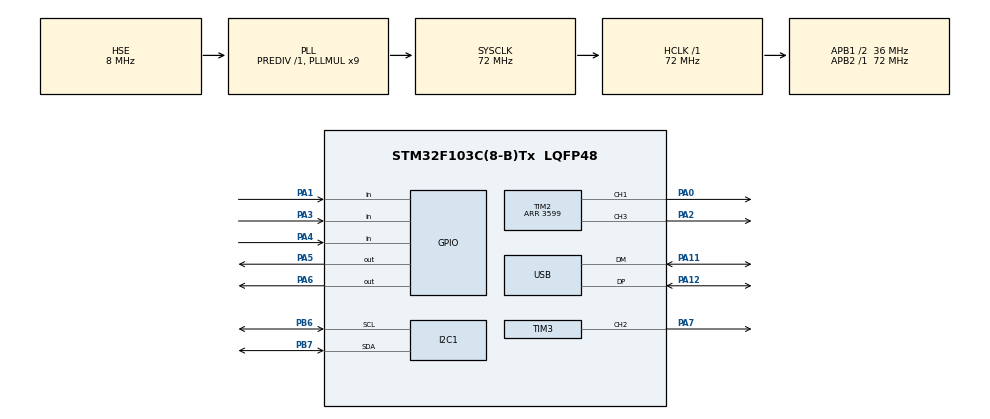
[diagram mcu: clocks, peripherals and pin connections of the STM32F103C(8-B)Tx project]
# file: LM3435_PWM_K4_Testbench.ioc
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Mcu.Family=STM32F1
Mcu.Name=STM32F103C(8-B)Tx
Mcu.Package=LQFP48
NVIC.PriorityGroup=NVIC_PRIORITYGROUP_4
NVIC.USB_LP_CAN1_RX0_IRQn=true\:0\:0\:false\:false\:true\:false\:true\:true
PA0-WKUP.Signal=S_TIM2_CH1_ETR
PA1.Signal=GPIO_Input
PA11.Mode=Device
PA11.Signal=USB_DM
PA12.Mode=Device
PA12.Signal=USB_DP
PA13.Mode=Serial_Wire
PA13.Signal=SYS_JTMS-SWDIO
PA14.Mode=Serial_Wire
PA14.Signal=SYS_JTCK-SWCLK
PA2.Signal=S_TIM2_CH3
PA3.Signal=GPIO_Input
PA4.Signal=GPIO_Input
PA5.Signal=GPIO_Output
PA6.Signal=GPIO_Output
PA7.Signal=S_TIM3_CH2
PB6.Mode=I2C
PB6.Signal=I2C1_SCL
PB7.Mode=I2C
PB7.Signal=I2C1_SDA
PD0-OSC_IN.Mode=HSE-External-Oscillator
PD0-OSC_IN.Signal=RCC_OSC_IN
PD1-OSC_OUT.Mode=HSE-External-Oscillator
PD1-OSC_OUT.Signal=RCC_OSC_OUT
ProjectManager.HeapSize=0x200
ProjectManager.StackSize=0x400
ProjectManager.TargetToolchain=MDK-ARM V5.32
RCC.AHBFreq_Value=72000000
RCC.APB1CLKDivider=RCC_HCLK_DIV2
RCC.APB1Freq_Value=36000000
RCC.APB1TimFreq_Value=72000000
RCC.APB2Freq_Value=72000000
RCC.APB2TimFreq_Value=72000000
RCC.HCLKFreq_Value=72000000
RCC.PLLMUL=RCC_PLL_MUL9
RCC.PLLSourceVirtual=RCC_PLLSOURCE_HSE
RCC.SYSCLKFreq_VALUE=72000000
RCC.SYSCLKSource=RCC_SYSCLKSOURCE_PLLCLK
RCC.USBFreq_Value=48000000
RCC.USBPrescaler=RCC_USBCLKSOURCE_PLL_DIV1_5
SH.S_TIM2_CH1_ETR.0=TIM2_CH1,PWM Generation1 CH1
SH.S_TIM2_CH3.0=TIM2_CH3,PWM Generation2 CH3
SH.S_TIM3_CH2.0=TIM3_CH2,PWM Generation1 CH2
TIM2.Channel-PWM\ Generation1\ CH1=TIM_CHANNEL_1
TIM2.Channel-PWM\ Generation2\ CH3=TIM_CHANNEL_3
TIM2.Period=3599
TIM2.Pulse-PWM\ Generation1\ CH1=360
TIM2.Pulse-PWM\ Generation2\ CH3=3240
TIM3.Channel-PWM\ Generation1\ CH2=TIM_CHANNEL_2
TIM3.Period=3599
TIM3.Prescaler=0
TIM3.Pulse-PWM\ Generation1\ CH2=360
USB_DEVICE.CLASS_NAME_FS=CDC
USB_DEVICE.VirtualMode=Cdc
USB_DEVICE.VirtualModeFS=Cdc_FS
VP_TIM2_VS_ClockSourceINT.Mode=Internal
VP_TIM3_VS_ClockSourceINT.Mode=Internal
VP_USB_DEVICE_VS_USB_DEVICE_CDC_FS.Mode=CDC_FS
board=custom

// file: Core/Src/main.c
/* USER CODE BEGIN Header */
/**
  ******************************************************************************
  * @file           : main.c
  * @brief          : Main program body
  ******************************************************************************
  * @attention
  *
  * Copyright (c) 2026 STMicroelectronics.
  * All rights reserved.
  *
  * This software is licensed under terms that can be found in the LICENSE file
  * in the root directory of this software component.
  * If no LICENSE file comes with this software, it is provided AS-IS.
  *
  ******************************************************************************
  */
/* USER CODE END Header */
#include "main.h"
#include "usb_device.h"
#include "usbd_cdc_if.h"
#include <stdio.h>
#include <stdarg.h>
#include <string.h>

/* USER CODE BEGIN PD */
/* ---- LM3435 (SNVS724C) ---- */
/* 7-bit slave address is 0x28 -> chip address byte 0x50 (write) */
#define LM3435_ADDR      (0x28<<1)

#define LM3435_REG_LEDLO   0x00    /* [5:4]=RLED[1:0] [3:2]=BLED[1:0] [1:0]=GLED[1:0] */
#define LM3435_REG_GLEDH   0x01    /* GLED[9:2]  */
#define LM3435_REG_BLEDH   0x02    /* BLED[9:2]  */
#define LM3435_REG_RLEDH   0x03    /* RLED[9:2]  */
#define LM3435_REG_FLT_RPT 0x05    /* [0]=fault reporting enable, reset default 0x01 */
#define LM3435_REG_DELAY   0x06    /* [7:6]RDLY [5:4]BDLY [3:2]GDLY -> 0=5us 1=15 2=25 3=35 */
#define LM3435_REG_FAULT   0x07    /* RO: GO GS - BO BS - RO RS */

/* ---- RGB sequential PWM geometry ----
 * f_TIM = 72MHz / (PSC+1) / (ARR+1) = 72e6 / 1 / 3600 = 20.000 kHz, 1 tick = 13.889 ns
 * 10% duty = 360 ticks = 5 us, three non-overlapping slots inside the 50 us frame:
 *   RED    PA0  TIM2_CH1 PWM1  CNT    0 ..  359   ( 0.00 -  5.00 us)
 *   GREEN  PA7  TIM3_CH2 PWM1  CNT 1200 .. 1559   (16.67 - 21.67 us)   (CNT preloaded)
 *   BLUE   PA2  TIM2_CH3 PWM2  CNT 3240 .. 3599   (45.00 - 50.00 us)
 * PA1 HAS NO TIM3 FUNCTION on STM32F103 (TIM3_CH2 is PA7 / PB5 / PC7 only),
 * so PA1 cannot generate the middle slot. PA1 offers only TIM2_CH2.
 * NOTE: LM3435 is a sequential driver and does NOT support overlapping control
 *       signals. Priority if they overlap is GREEN > BLUE > RED.
 */
#define PWM_ARR          3599
#define PWM_DUTY_TICKS   360
#define PWM_GREEN_PHASE  1200
#define PWM_BLUE_CCR     (PWM_ARR - PWM_DUTY_TICKS + 1)   /* 3240, PWM mode 2 */

/* Slot layout inside one 3600-tick frame:
      RED    CNT 0 ........... duty-1          (PWM mode 1, CCR = duty)
      GREEN  CNT 1200 ........ 1200+duty-1     (PWM mode 1, CCR = duty, CNT preloaded)
      BLUE   CNT 3600-duty ... 3599           (PWM mode 2, CCR = 3600-duty)
   GREEN is pinned to PWM_GREEN_PHASE (= 1/3 of the frame) so the three slots stay
   ordered for any duty.

   The real ceiling is NOT 1/3 of the frame. LM3435 enforces a transition delay at
   every colour change (06h DELAY, minimum value 0 = 5us) and one frame contains
   three changes (R->G, G->B, B->R), so 15us of every frame is reserved as dead
   time no matter how the slots are packed:
       duty_max = (frame - 15us) / 3 / frame
   With a 50us frame (20kHz): (50 - 15) / 3 / 50 = 23.3%.
   Note that raising the PWM frequency makes this WORSE, because the fixed 15us
   dead time eats a larger fraction of a shorter frame. Going higher would require
   a longer frame: 33% needs 1500us = 667Hz, which flickers visibly.
   23% = 828 ticks; round down to 810 (22.5%) so the total never exceeds the frame. */
#define PWM_DUTY_MAX_TICKS 810U
#define PWM_DUTY_MAX_PCT   23U

#define LM3435_I2C_TIMEOUT  100
/* USER CODE END PD */

I2C_HandleTypeDef hi2c1;

TIM_HandleTypeDef htim2;
TIM_HandleTypeDef htim3;

/* USER CODE BEGIN PV */
extern USBD_HandleTypeDef hUsbDeviceFS;

/* The boot banner is generated long before the host finishes enumerating the
   CDC device, so VCP_Send() drops it. Set once we have managed to actually
   deliver something, then re-send the banner on the first command. */
static uint8_t vcp_link_up = 0U;
static uint8_t vcp_banner_sent = 0U;
static uint8_t vcp_cmd_seen = 0U;
static uint32_t vcp_hb_tick = 0U;

/* USER CODE END PV */

void SystemClock_Config(void);
static void MX_GPIO_Init(void);
static void MX_I2C1_Init(void);
static void MX_TIM2_Init(void);
static void MX_TIM3_Init(void);
/* USER CODE BEGIN PFP */
static void MX_RGB_PWM_Start(void);
static uint8_t PWM_SetDuty(uint8_t duty_pct);
static void VCP_Process(void);
static void VCP_SendBanner(void);
static void LM3435_PrintFault(uint8_t flt);
static HAL_StatusTypeDef LM3435_ClearFault(void);
/* USER CODE END PFP */

int main(void)
{

  /* MCU Configuration--------------------------------------------------------*/

  /* Reset of all peripherals, Initializes the Flash interface and the Systick. */
  HAL_Init();

  /* Configure the system clock */
  SystemClock_Config();

  /* Initialize all configured peripherals */
  MX_GPIO_Init();
  MX_I2C1_Init();
  MX_TIM2_Init();
  MX_TIM3_Init();
  MX_USB_DEVICE_Init();
  /* USER CODE BEGIN 2 */
	HAL_Delay(500);

	/* program inter-color transition delay to 5us (register 06h = 0x00) */
	LM3435_Init();

	/* Non-overlapping RGB PWM. MUST keep running: I2C current updates and
	   LED fault detection only act on the falling edge of the CTRL signals. */
	MX_RGB_PWM_Start();

  /* USER CODE END 2 */

  /* Infinite loop */
  while (1)
  {

    /* USER CODE BEGIN 3 */
	VCP_Process();
  }
  /* USER CODE END 3 */
}

void SystemClock_Config(void)
{
  RCC_OscInitTypeDef RCC_OscInitStruct = {0};
  RCC_ClkInitTypeDef RCC_ClkInitStruct = {0};
  RCC_PeriphCLKInitTypeDef PeriphClkInit = {0};

  /** Initializes the RCC Oscillators according to the specified parameters
  * in the RCC_OscInitTypeDef structure.
  */
  RCC_OscInitStruct.OscillatorType = RCC_OSCILLATORTYPE_HSE;
  RCC_OscInitStruct.HSEState = RCC_HSE_ON;
  RCC_OscInitStruct.HSEPredivValue = RCC_HSE_PREDIV_DIV1;
  RCC_OscInitStruct.HSIState = RCC_HSI_ON;
  RCC_OscInitStruct.PLL.PLLState = RCC_PLL_ON;
  RCC_OscInitStruct.PLL.PLLSource = RCC_PLLSOURCE_HSE;
  RCC_OscInitStruct.PLL.PLLMUL = RCC_PLL_MUL9;
  if (HAL_RCC_OscConfig(&RCC_OscInitStruct) != HAL_OK)
  {
    Error_Handler();
  }

  /** Initializes the CPU, AHB and APB buses clocks
  */
  RCC_ClkInitStruct.ClockType = RCC_CLOCKTYPE_HCLK|RCC_CLOCKTYPE_SYSCLK
                              |RCC_CLOCKTYPE_PCLK1|RCC_CLOCKTYPE_PCLK2;
  RCC_ClkInitStruct.SYSCLKSource = RCC_SYSCLKSOURCE_PLLCLK;
  RCC_ClkInitStruct.AHBCLKDivider = RCC_SYSCLK_DIV1;
  RCC_ClkInitStruct.APB1CLKDivider = RCC_HCLK_DIV2;
  RCC_ClkInitStruct.APB2CLKDivider = RCC_HCLK_DIV1;

  if (HAL_RCC_ClockConfig(&RCC_ClkInitStruct, FLASH_LATENCY_2) != HAL_OK)
  {
    Error_Handler();
  }
  PeriphClkInit.PeriphClockSelection = RCC_PERIPHCLK_USB;
  PeriphClkInit.UsbClockSelection = RCC_USBCLKSOURCE_PLL_DIV1_5;
  if (HAL_RCCEx_PeriphCLKConfig(&PeriphClkInit) != HAL_OK)
  {
    Error_Handler();
  }
}

static void MX_I2C1_Init(void)
{

  hi2c1.Instance = I2C1;
  hi2c1.Init.ClockSpeed = 100000;
  hi2c1.Init.DutyCycle = I2C_DUTYCYCLE_2;
  hi2c1.Init.OwnAddress1 = 0;
  hi2c1.Init.AddressingMode = I2C_ADDRESSINGMODE_7BIT;
  hi2c1.Init.DualAddressMode = I2C_DUALADDRESS_DISABLE;
  hi2c1.Init.OwnAddress2 = 0;
  hi2c1.Init.GeneralCallMode = I2C_GENERALCALL_DISABLE;
  hi2c1.Init.NoStretchMode = I2C_NOSTRETCH_DISABLE;
  if (HAL_I2C_Init(&hi2c1) != HAL_OK)
  {
    Error_Handler();
  }

}

static void MX_TIM2_Init(void)
{

  TIM_ClockConfigTypeDef sClockSourceConfig = {0};
  TIM_MasterConfigTypeDef sMasterConfig = {0};
  TIM_OC_InitTypeDef sConfigOC = {0};

  htim2.Instance = TIM2;
  htim2.Init.Prescaler = 0;
  htim2.Init.CounterMode = TIM_COUNTERMODE_UP;
  htim2.Init.Period = PWM_ARR;
  htim2.Init.ClockDivision = TIM_CLOCKDIVISION_DIV1;
  htim2.Init.AutoReloadPreload = TIM_AUTORELOAD_PRELOAD_DISABLE;
  if (HAL_TIM_Base_Init(&htim2) != HAL_OK)
  {
    Error_Handler();
  }
  sClockSourceConfig.ClockSource = TIM_CLOCKSOURCE_INTERNAL;
  if (HAL_TIM_ConfigClockSource(&htim2, &sClockSourceConfig) != HAL_OK)
  {
    Error_Handler();
  }
  if (HAL_TIM_PWM_Init(&htim2) != HAL_OK)
  {
    Error_Handler();
  }
  sMasterConfig.MasterOutputTrigger = TIM_TRGO_RESET;
  sMasterConfig.MasterSlaveMode = TIM_MASTERSLAVEMODE_DISABLE;
  if (HAL_TIMEx_MasterConfigSynchronization(&htim2, &sMasterConfig) != HAL_OK)
  {
    Error_Handler();
  }
  sConfigOC.OCMode = TIM_OCMODE_PWM1;
  sConfigOC.Pulse = PWM_DUTY_TICKS;
  sConfigOC.OCPolarity = TIM_OCPOLARITY_HIGH;
  sConfigOC.OCFastMode = TIM_OCFAST_DISABLE;
  if (HAL_TIM_PWM_ConfigChannel(&htim2, &sConfigOC, TIM_CHANNEL_1) != HAL_OK)
  {
    Error_Handler();
  }

  /* CH3 uses PWM mode 2 so the BLUE pulse sits at the END of the frame
     (CNT 3240..3599) and does not overlap the RED pulse at the start. */
  sConfigOC.OCMode = TIM_OCMODE_PWM2;
  sConfigOC.Pulse = PWM_BLUE_CCR;
  if (HAL_TIM_PWM_ConfigChannel(&htim2, &sConfigOC, TIM_CHANNEL_3) != HAL_OK)
  {
    Error_Handler();
  }
  HAL_TIM_MspPostInit(&htim2);

}

static void MX_TIM3_Init(void)
{

  TIM_ClockConfigTypeDef sClockSourceConfig = {0};
  TIM_MasterConfigTypeDef sMasterConfig = {0};
  TIM_OC_InitTypeDef sConfigOC = {0};

  htim3.Instance = TIM3;
  htim3.Init.Prescaler = 0;
  htim3.Init.CounterMode = TIM_COUNTERMODE_UP;
  htim3.Init.Period = PWM_ARR;
  htim3.Init.ClockDivision = TIM_CLOCKDIVISION_DIV1;
  htim3.Init.AutoReloadPreload = TIM_AUTORELOAD_PRELOAD_DISABLE;
  if (HAL_TIM_Base_Init(&htim3) != HAL_OK)
  {
    Error_Handler();
  }
  sClockSourceConfig.ClockSource = TIM_CLOCKSOURCE_INTERNAL;
  if (HAL_TIM_ConfigClockSource(&htim3, &sClockSourceConfig) != HAL_OK)
  {
    Error_Handler();
  }
  if (HAL_TIM_PWM_Init(&htim3) != HAL_OK)
  {
    Error_Handler();
  }
  sMasterConfig.MasterOutputTrigger = TIM_TRGO_RESET;
  sMasterConfig.MasterSlaveMode = TIM_MASTERSLAVEMODE_DISABLE;
  if (HAL_TIMEx_MasterConfigSynchronization(&htim3, &sMasterConfig) != HAL_OK)
  {
    Error_Handler();
  }
  sConfigOC.OCMode = TIM_OCMODE_PWM1;
  sConfigOC.Pulse = PWM_DUTY_TICKS;
  sConfigOC.OCPolarity = TIM_OCPOLARITY_HIGH;
  sConfigOC.OCFastMode = TIM_OCFAST_DISABLE;
  if (HAL_TIM_PWM_ConfigChannel(&htim3, &sConfigOC, TIM_CHANNEL_2) != HAL_OK)
  {
    Error_Handler();
  }
  HAL_TIM_MspPostInit(&htim3);

}

static void MX_GPIO_Init(void)
{
  GPIO_InitTypeDef GPIO_InitStruct = {0};

  /* GPIO Ports Clock Enable */
  __HAL_RCC_GPIOD_CLK_ENABLE();
  __HAL_RCC_GPIOA_CLK_ENABLE();
  __HAL_RCC_GPIOB_CLK_ENABLE();

  /*Configure GPIO pin Output Level */
  HAL_GPIO_WritePin(GPIOA, GPIO_PIN_5|GPIO_PIN_6, GPIO_PIN_RESET);

  /*Configure GPIO pins : PA3 PA4 */
  GPIO_InitStruct.Pin = GPIO_PIN_3|GPIO_PIN_4;
  GPIO_InitStruct.Mode = GPIO_MODE_INPUT;
  GPIO_InitStruct.Pull = GPIO_NOPULL;
  HAL_GPIO_Init(GPIOA, &GPIO_InitStruct);

  /*Configure GPIO pins : PA5 PA6 */
  GPIO_InitStruct.Pin = GPIO_PIN_5|GPIO_PIN_6;
  GPIO_InitStruct.Mode = GPIO_MODE_OUTPUT_PP;
  GPIO_InitStruct.Pull = GPIO_NOPULL;
  GPIO_InitStruct.Speed = GPIO_SPEED_FREQ_LOW;
  HAL_GPIO_Init(GPIOA, &GPIO_InitStruct);

}

/* USER CODE BEGIN 4 */

/* ------------------------------------------------------------------ */
/*  VCP (USB CDC) helpers                                             */
/* ------------------------------------------------------------------ */
void VCP_Send(const char *s)
{
    uint32_t wait;

    if ((s == NULL) || (*s == '\0'))
    {
        return;
    }
    /* CDC_Transmit_FS dereferences pClassData - it is still NULL until the
       host enumerates the device, so drop the message instead of faulting. */
    if (hUsbDeviceFS.pClassData == NULL)
    {
        return;
    }

    /* The CDC class keeps a single TX buffer with a TxState busy flag. A second
       send issued while the previous packet is still in flight returns USBD_BUSY
       and used to be dropped silently - which is why commands appeared to get
       "no reply". Retry until the previous packet is out. Safe to block: VCP
       code only ever runs from the main loop. */
    for (wait = 0U; wait < 2000U; wait++)
    {
        if (CDC_Transmit_FS((uint8_t *)s, (uint16_t)strlen(s)) != USBD_BUSY)
        {
            vcp_link_up = 1U;
            return;
        }
        HAL_Delay(1);
    }
}

void VCP_Printf(const char *fmt, ...)
{
    /* static: USB transmission is asynchronous, so the buffer must stay valid
       after this function returns. A stack buffer could be overwritten by the
       main loop while the packet is still in flight. */
    static char buf[128];
    va_list ap;

    va_start(ap, fmt);
    (void)vsnprintf(buf, sizeof(buf), fmt, ap);
    va_end(ap);

    VCP_Send(buf);
}

/* called from the main loop only - never from the USB IRQ */
static void VCP_Process(void)
{
    static char cmd[VCP_CMD_BUFFER_SIZE];
    uint32_t now = HAL_GetTick();

    /* Liveness check: one dot per second until the first command is received.
       If nothing shows up at all, the firmware is not running / not flashed,
       or the terminal is not actually connected to this CDC port. */
    if ((vcp_cmd_seen == 0U) && ((now - vcp_hb_tick) >= 1000U))
    {
        vcp_hb_tick = now;
        VCP_Send(".");
    }

    /* Dispatch on a line ending, or after 500 ms of typing silence so the
       command still runs on a terminal that sends no newline at all. */
    if (VCP_QueuePop(cmd) == 0U)
    {
        return;
    }

    vcp_cmd_seen = 1U;

    /* Proves the whole RX->main loop->TX chain works, and re-delivers the boot
       banner that was lost before the host enumerated the CDC device. */
    if (vcp_banner_sent == 0U)
    {
        VCP_SendBanner();
    }

    Process_Command(cmd);
}

/* ------------------------------------------------------------------ */
/*  LM3435 I2C helpers                                                */
/* ------------------------------------------------------------------ */
HAL_StatusTypeDef LM3435_WriteReg(uint8_t reg, uint8_t data)
{
    return HAL_I2C_Mem_Write(&hi2c1, LM3435_ADDR, reg, I2C_MEMADD_SIZE_8BIT,
                             &data, 1, LM3435_I2C_TIMEOUT);
}

HAL_StatusTypeDef LM3435_ReadReg(uint8_t reg, uint8_t *data)
{
    return HAL_I2C_Mem_Read(&hi2c1, LM3435_ADDR, reg, I2C_MEMADD_SIZE_8BIT,
                            data, 1, LM3435_I2C_TIMEOUT);
}

void LM3435_Init(void)
{
    HAL_StatusTypeDef st;

    /* Reset values of 00h-03h are 0x3FF = full current, so the LEDs are driven
       at maximum from power-up until the first I2C write. Drop to the minimum
       code first to avoid an overcurrent spike at boot. A zero code can raise a
       false SHORT fault, so use code 1. */
    if (LM3435_Set_RGB_Current(1U, 1U, 1U) != HAL_OK)
    {
        VCP_Printf("ERR: LM3435 not responding (I2C err=0x%04X)\r\n",
                   (unsigned)HAL_I2C_GetError(&hi2c1));
        return;
    }

    /* 06h: RDLY/BDLY/GDLY = 0 -> 5us transition delay.
       Default 0xFF = 35us, which is longer than one 20kHz slot (16.7us). */
    st = LM3435_WriteReg(LM3435_REG_DELAY, 0x00U);
    if (st != HAL_OK)
    {
        VCP_Printf("ERR: LM3435 not responding (I2C err=0x%04X)\r\n",
                   (unsigned)HAL_I2C_GetError(&hi2c1));
        return;
    }

    /* 05h bit0 = 1 keeps LED open/short fault reporting enabled (default 0x01) */
    (void)LM3435_WriteReg(LM3435_REG_FLT_RPT, 0x01U);

    VCP_Send("LM3435 ready (addr 0x28, DELAY=5us, FAULT report on, boot current clamped)\r\n");
}

HAL_StatusTypeDef LM3435_Set_RGB_Current(uint16_t r_val, uint16_t g_val, uint16_t b_val)
{
    uint8_t reg00, reg01, reg02, reg03;
    HAL_StatusTypeDef st;

    if (r_val > 1023U) { r_val = 1023U; }
    if (g_val > 1023U) { g_val = 1023U; }
    if (b_val > 1023U) { b_val = 1023U; }

    /* 00h LEDLO : [7:6]=0 [5:4]=RLED[1:0] [3:2]=BLED[1:0] [1:0]=GLED[1:0] */
    reg00 = (uint8_t)((((r_val) & 0x03U) << 4) |
                      (((b_val) & 0x03U) << 2) |
                       ((g_val) & 0x03U));
    reg01 = (uint8_t)(g_val >> 2);   /* 01h GLEDH */
    reg02 = (uint8_t)(b_val >> 2);   /* 02h BLEDH */
    reg03 = (uint8_t)(r_val >> 2);   /* 03h RLEDH */

    /* The datasheet only documents "addr + register + single data byte".
       No auto address increment is specified, so write each register alone. */
    st = LM3435_WriteReg(LM3435_REG_LEDLO, reg00);
    if (st != HAL_OK) { return st; }
    st = LM3435_WriteReg(LM3435_REG_GLEDH, reg01);
    if (st != HAL_OK) { return st; }
    st = LM3435_WriteReg(LM3435_REG_BLEDH, reg02);
    if (st != HAL_OK) { return st; }
    return LM3435_WriteReg(LM3435_REG_RLEDH, reg03);
}

/* 07h FAULT : D7 GO  D6 GS  D5 -  D4 BO  D3 BS  D2 -  D1 RO  D0 RS
   (bit set = that fault is latched) */
static void LM3435_PrintFault(uint8_t flt)
{
    if (flt == 0x00U)
    {
        VCP_Send("none\r\n");
        return;
    }

    VCP_Printf("0x%02X : ", flt);
    if ((flt & 0x80U) != 0U) { VCP_Send("GREEN-open  "); }
    if ((flt & 0x40U) != 0U) { VCP_Send("GREEN-short "); }
    if ((flt & 0x10U) != 0U) { VCP_Send("BLUE-open   "); }
    if ((flt & 0x08U) != 0U) { VCP_Send("BLUE-short  "); }
    if ((flt & 0x02U) != 0U) { VCP_Send("RED-open    "); }
    if ((flt & 0x01U) != 0U) { VCP_Send("RED-short   "); }

    /* A commanded current of 0 leaves VOUT at VIN, which the datasheet calls
       a short (< VIN + 1.5V). Report that so it is not mistaken for a real
       fault. */
    if ((flt & (uint8_t)((flt & 0x48U) | (flt & 0x09U))) != 0U)
    {
        VCP_Send("\r\n    (SHORT flags are also reported when the current code is 0 - that is a false fault)\r\n");
        return;
    }
    VCP_Send("\r\n");
}

/* Datasheet: the latched fault is cleared by writing 0 to bit0 of 05h; write 1
   again afterwards to re-enable fault reporting. */
static HAL_StatusTypeDef LM3435_ClearFault(void)
{
    if (LM3435_WriteReg(LM3435_REG_FLT_RPT, 0x00U) != HAL_OK)
    {
        return HAL_ERROR;
    }
    return LM3435_WriteReg(LM3435_REG_FLT_RPT, 0x01U);
}

/* ------------------------------------------------------------------ */
/*  Non-overlapping RGB PWM start                                     */
/* ------------------------------------------------------------------ */
static void MX_RGB_PWM_Start(void)
{
    /* Preload the counter BEFORE enabling CEN so the pulse lands in the
       correct slot of the 50us frame. */
    __HAL_TIM_SET_COUNTER(&htim2, 0U);
    (void)HAL_TIM_PWM_Start(&htim2, TIM_CHANNEL_1);   /* RED    PA0  CNT    0.. 359 */
    (void)HAL_TIM_PWM_Start(&htim2, TIM_CHANNEL_3);   /* BLUE   PA2  CNT 3240..3599 */

    __HAL_TIM_SET_COUNTER(&htim3, PWM_GREEN_PHASE);
    (void)HAL_TIM_PWM_Start(&htim3, TIM_CHANNEL_2);   /* GREEN  PA7  CNT 1200..1559 */

    VCP_Printf("RGB PWM 20.00kHz duty 10.0%% : PA0/R=0us PA7/G=16.67us PA2/B=45us (non-overlap)\r\n");
}

/*  Change the duty of all three channels at runtime, in percent of one frame.
    Returns 1 on success, 0 if the argument is out of range.                */
static uint8_t PWM_SetDuty(uint8_t duty_pct)
{
    uint32_t ticks;

    if ((duty_pct == 0U) || (duty_pct > PWM_DUTY_MAX_PCT))
    {
        return 0U;
    }

    /* 1% = 36 ticks (3600 / 100). Clamp so that three slots plus the three
       5us transition delays always fit inside the 50us frame. */
    ticks = ((uint32_t)PWM_ARR + 1U) * (uint32_t)duty_pct / 100U;
    if (ticks > PWM_DUTY_MAX_TICKS)
    {
        ticks = PWM_DUTY_MAX_TICKS;
    }

    __HAL_TIM_SET_COMPARE(&htim2, TIM_CHANNEL_1, ticks);           /* RED   */
    __HAL_TIM_SET_COMPARE(&htim3, TIM_CHANNEL_2, ticks);           /* GREEN */
    __HAL_TIM_SET_COMPARE(&htim2, TIM_CHANNEL_3, PWM_ARR - ticks + 1U); /* BLUE, PWM2 */

    VCP_Printf("OK: duty %u%% (%lu ticks, %.2f us per channel)\r\n",
               (unsigned)duty_pct, ticks, ((double)ticks * 50.0 / 3600.0));
    VCP_Printf("    slots: R=%lu G=%lu B=%lu ticks (total %lu of 3600)\r\n",
               ticks, (uint32_t)PWM_GREEN_PHASE, (uint32_t)PWM_ARR - ticks + 1U,
               ticks * 3U);
    VCP_Printf("    times : R=0.00us G=%.2fus B=%.2fus  (brightness = duty x current)\r\n",
               ((double)PWM_GREEN_PHASE * 50.0 / 3600.0),
               ((double)(PWM_ARR - ticks + 1U) * 50.0 / 3600.0));
    return 1U;
}

/* ------------------------------------------------------------------ */
/*  Command parser                                                    */
/* ------------------------------------------------------------------ */
/* ------------------------------------------------------------------ */
/*  Deferred boot banner                                               */
/* ------------------------------------------------------------------ */
static void VCP_SendBanner(void)
{
    vcp_banner_sent = 1U;
    VCP_Send("\r\n==== LM3435 RGB sequential driver ====\r\n");
    VCP_Send("PWM 20.00kHz duty 10.0% : PA0/R=0us  PA7/G=16.67us  PA2/B=45us\r\n");
    VCP_Send("LM3435 is controlled by CURRENT, duty is fixed at 10%.\r\n");
    VCP_Printf("Commands: PING | HELP | STATUS | CLR | DUTY <1..%u> | LM3435 <0..100>\r\n\r\n",
               (unsigned)PWM_DUTY_MAX_PCT);
}

/* ------------------------------------------------------------------ */
/*  Command parser                                                    */
/* ------------------------------------------------------------------ */
void Process_Command(char *cmd)
{
    int cmd_val = 0;
    uint16_t code;
    uint8_t  flt = 0xFFU;
    uint8_t  i;

    /* accept any case, so "lm3435 10" works as well as "LM3435 10" */
    for (i = 0U; cmd[i] != '\0'; i++)
    {
        if ((cmd[i] >= 'a') && (cmd[i] <= 'z'))
        {
            cmd[i] = (char)(cmd[i] - 32);
        }
    }

    if (strcmp(cmd, "PING") == 0)
    {
        VCP_Send("PONG\r\n");
        return;
    }

    if ((strcmp(cmd, "HELP") == 0) || (strcmp(cmd, "?") == 0))
    {
        VCP_Send("PING            - check the USB command link\r\n");
        VCP_Send("STATUS          - USB / PWM / I2C / LM3435 FAULT state\r\n");
        VCP_Send("CLR             - clear the latched LM3435 fault (05h)\r\n");
        VCP_Printf("DUTY <1..%u>    - PWM duty %% of one frame, all three channels\r\n",
                   (unsigned)PWM_DUTY_MAX_PCT);
        VCP_Send("                   max 23% at 20kHz: the LM3435 transition\r\n");
        VCP_Send("                   delay (5us x 3) takes 15us of every frame\r\n");
        VCP_Send("LM3435 <0..100> - set R,G,B LED current as %% of IREF\r\n");
        VCP_Send("                   (duty is fixed at 10%%, brightness = duty x current)\r\n");
        VCP_Send("                   do NOT use 0 to switch off: it raises a false\r\n");
        VCP_Send("                   SHORT fault. Use a low current instead.\r\n");
        return;
    }

    if (strcmp(cmd, "CLR") == 0)
    {
        if (LM3435_ClearFault() != HAL_OK)
        {
            VCP_Printf("ERR: I2C write failed (HAL err=0x%04X)\r\n",
                       (unsigned)HAL_I2C_GetError(&hi2c1));
            return;
        }
        HAL_Delay(2);
        if (LM3435_ReadReg(LM3435_REG_FAULT, &flt) == HAL_OK)
        {
            VCP_Send("fault cleared, FAULT(07h) now = ");
            LM3435_PrintFault(flt);
        }
        return;
    }

    if (strncmp(cmd, "DUTY ", 5) == 0)
    {
        int duty_val = 0;

        if ((sscanf(cmd + 5, "%d", &duty_val) != 1) ||
            (duty_val < 1) || (duty_val > (int)PWM_DUTY_MAX_PCT))
        {
            VCP_Printf("ERR: usage DUTY <1..%u> (got \"%s\")\r\n",
                       (unsigned)PWM_DUTY_MAX_PCT, cmd);
            VCP_Send("     LM3435 needs 5us per colour change and a frame has three\r\n");
            VCP_Send("     changes, so 15us of every 50us frame is dead time:\r\n");
            VCP_Send("         duty_max = (frame - 15us) / 3 / frame\r\n");
            VCP_Printf("         at 20kHz = (50 - 15) / 3 / 50 = 23%%\r\n");
            VCP_Send("     Duty 0 is also rejected: it makes LM3435 raise a false SHORT\r\n");
            VCP_Send("     fault. Raising the PWM frequency lowers this limit further.\r\n");
            return;
        }

        if (PWM_SetDuty((uint8_t)duty_val) == 0U)
        {
            VCP_Send("ERR: duty out of range\r\n");
        }
        return;
    }

    if (strcmp(cmd, "STATUS") == 0)
    {
        VCP_Send("USB CDC  : ");
        VCP_Send(vcp_link_up ? "enumerated\r\n" : "NOT enumerated\r\n");
        VCP_Printf("PWM      : 20.00 kHz, 50us frame, DUTY <1..%u> (15us dead time)\r\n",
                   (unsigned)PWM_DUTY_MAX_PCT);
        VCP_Send("Pins     : PA0=TIM2_CH1/R  PA7=TIM3_CH2/G  PA2=TIM2_CH3/B\r\n");
        VCP_Send("I2C1     : 100 kHz, addr 0x50, HAL err=0x");
        VCP_Printf("%04X\r\n", (unsigned)HAL_I2C_GetError(&hi2c1));
        if (LM3435_ReadReg(LM3435_REG_FAULT, &flt) == HAL_OK)
        {
            VCP_Send("LM3435   : ACK, FAULT(07h)=");
            LM3435_PrintFault(flt);
        }
        else
        {
            VCP_Printf("LM3435   : NO ACK on 0x50, HAL err=0x%04X\r\n",
                       (unsigned)HAL_I2C_GetError(&hi2c1));
        }
        return;
    }

    if (sscanf(cmd, "LM3435 %d", &cmd_val) != 1)
    {
        VCP_Printf("ERR: unknown command \"%s\"\r\n", cmd);
        VCP_Send("     type HELP for the command list\r\n");
        return;
    }

    if ((cmd_val < 0) || (cmd_val > 100))
    {
        VCP_Send("ERR: value out of range, use 0..100\r\n");
        return;
    }

    /* 10-bit code: 0x000 ~ 0x3FF, where 0x3FF = IREF (set by the IREFx resistor) */
    code = (uint16_t)((1023U * (uint16_t)cmd_val) / 100U);

    if (LM3435_Set_RGB_Current(code, code, code) != HAL_OK)
    {
        VCP_Printf("ERR: I2C write failed (HAL err=0x%04X)\r\n",
                   (unsigned)HAL_I2C_GetError(&hi2c1));
        return;
    }

    VCP_Printf("OK: %d%% -> RLED=%u GLED=%u BLED=%u\r\n",
               cmd_val, code, code, code);

    if (cmd_val == 0)
    {
        VCP_Send("    warning: code 0 leaves VOUT at VIN, which the LM3435 reports\r\n");
        VCP_Send("             as a SHORT fault. Use a low % instead of 0.\r\n");
    }

    if (LM3435_ReadReg(LM3435_REG_FAULT, &flt) == HAL_OK)
    {
        VCP_Send("    FAULT(07h)=");
        LM3435_PrintFault(flt);
    }
    else
    {
        VCP_Printf("    FAULT(07h) read failed (I2C err=0x%04X)\r\n",
                   (unsigned)HAL_I2C_GetError(&hi2c1));
    }
}
/* USER CODE END 4 */

void Error_Handler(void)
{
  __disable_irq();
  while (1)
  {
  }
}
